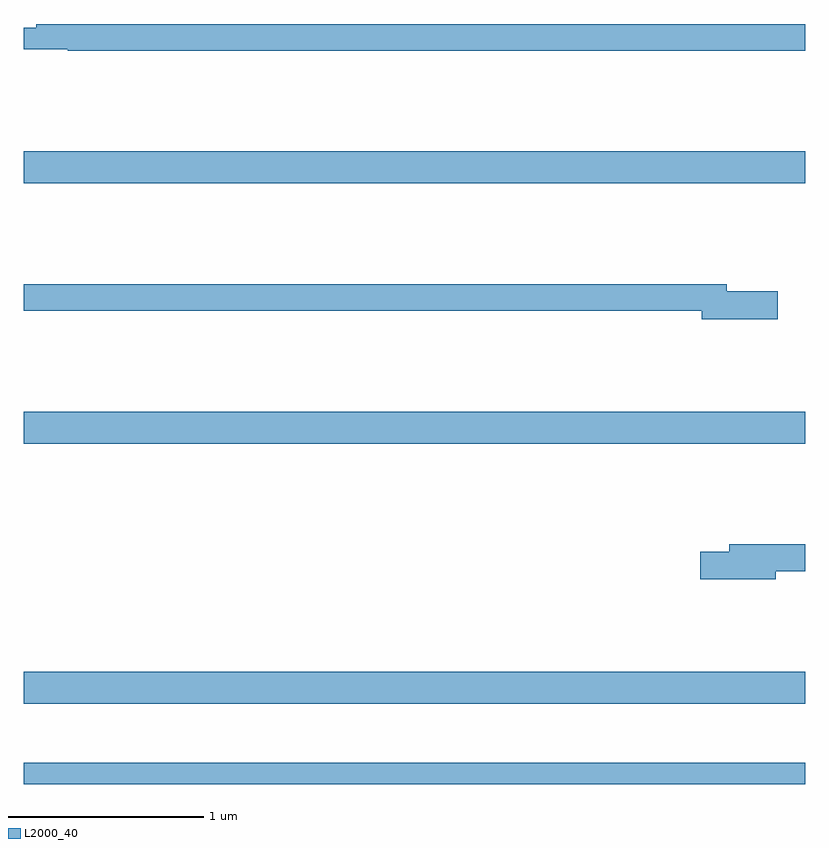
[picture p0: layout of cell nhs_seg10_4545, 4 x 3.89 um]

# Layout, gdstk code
import gdstk
lib = gdstk.Library(unit=1e-6, precision=1e-09)
def R(c, l, rs):  # rectangles x0, y0, x1, y1
    for r in rs: c.add(gdstk.rectangle(r[:2], r[2:], *l))
def A(c, l, x, y, w, h, nx, ny, dx, dy):  # array of equal rectangles
    R(c, l, [(x+i*dx, y+j*dy, x+i*dx+w, y+j*dy+h) for i in range(nx) for j in range(ny)])
def P(c, l, *ps):  # polygons
    for p in ps: c.add(gdstk.Polygon(p, *l))
L2000_40 = (2000, 40)

nhs_seg10_4545 = lib.new_cell('nhs_seg10_4545')
A(nhs_seg10_4545, L2000_40, 369, 1322.96, 4, 0.164, 1, 3, 0, 1.332)
R(nhs_seg10_4545, L2000_40, [(369,1322.55,373,1322.659)])
P(nhs_seg10_4545, L2000_40, [(373,1326.44),(369.064,1326.44),(369.064,1326.421),(369,1326.421),(369,1326.312),(369.224,1326.312),(369.224,1326.304),(373,1326.304)],
  [(372.859,1325.072),(372.598,1325.072),(372.598,1325.108),(369,1325.108),(369,1324.972),(372.47,1324.972),(372.47,1324.93),(372.859,1324.93)],
  [(372.85,1323.64),(373,1323.64),(373,1323.776),(372.611,1323.776),(372.611,1323.74),(372.462,1323.74),(372.462,1323.598),(372.85,1323.598)])

lib.write_gds('nhs_seg10_4545.gds')
